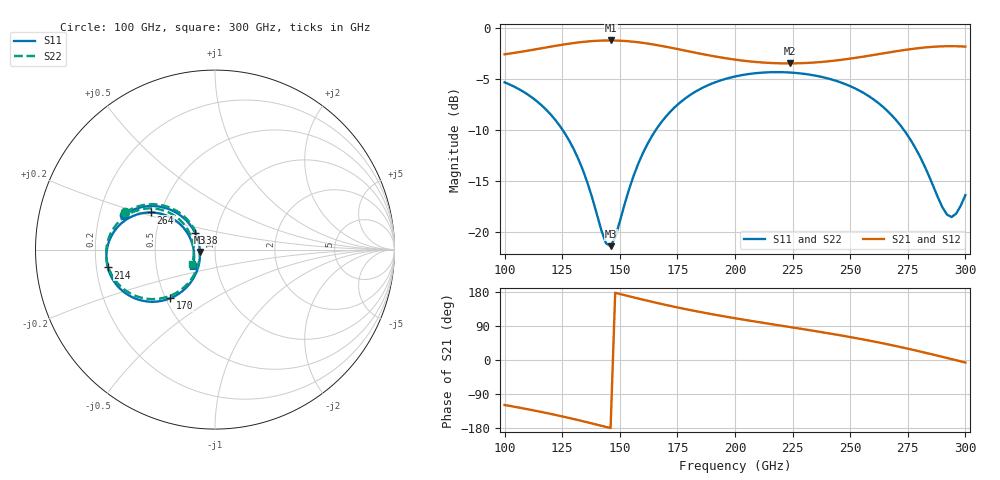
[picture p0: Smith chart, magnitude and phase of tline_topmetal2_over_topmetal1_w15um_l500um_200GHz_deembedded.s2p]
! Created with skrf 2.0.1 (http://scikit-rf.org).
# GHz S DB R 50.0
!freq dBS11 angS11 dBS21 angS21 dBS12 angS12 dBS22 angS22
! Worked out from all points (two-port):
!   101 points, 100 GHz to 300 GHz, reference 50 ohm
!   highest |S21| = -1.22 dB at 146 GHz (marker M1); lowest = -3.5 dB at 224 GHz (marker M2)
!   |S21| within 3 dB of the highest: start of sweep to end of sweep
!   lowest |S11| = -21.4 dB at 146 GHz (marker M3), VSWR 1.19, Z = 42.3 - j1.15 ohm
!   |S11| at or under -10 dB: 125.1 GHz to 165.7 GHz (40.55 GHz wide, 27.9 % of centre); 273.2 GHz to end of sweep
!   |S22| runs from -21.5 to -4.3 dB; largest |S21 - S12| = 8.9e-14
!   S11 on the Smith chart (normalised r, x): 100 GHz: 0.31, +0.17; 138 GHz: 0.79, +0.15; 170 GHz: 0.53, -0.33; 214 GHz: 0.25, -0.08; 264 GHz: 0.44, +0.22; 300 GHz: 0.77, -0.14
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100  -5.34 158.9  -2.58 -118.8  -2.58 -118.8  -5.34 157.5
120  -8.49 141.1  -1.83 -142.2  -1.83 -142.2  -8.50 139.3
128  -11.04 135.6  -1.54 -153.0  -1.54 -153.0  -11.05 133.7
134  -13.96 135.0  -1.37 -161.6  -1.37 -161.6  -13.98 133.0
138  -16.66 139.6  -1.29 -167.5  -1.29 -167.5  -16.69 137.5
144  -21.14 170.3  -1.23 -176.6  -1.23 -176.6  -21.20 168.2
146  -21.42 -170.8  -1.22 -179.6  -1.22 -179.6  -21.49 -172.8
158  -13.33 -126.6  -1.40 162.3  -1.40 162.3  -13.34 -128.7
168  -9.26 -130.9  -1.76 148.0  -1.76 148.0  -9.27 -133.1
170  -8.70 -132.5  -1.84 145.3  -1.84 145.3  -8.71 -134.8
184  -6.10 -145.0  -2.48 127.7  -2.48 127.7  -6.11 -147.5
200  -4.76 -159.1  -3.11 110.3  -3.11 110.3  -4.77 -161.8
214  -4.36 -170.6  -3.42 96.4  -3.42 96.4  -4.36 -173.5
224  -4.37 -178.5  -3.48 86.8  -3.48 86.8  -4.38 178.4
234  -4.64 173.6  -3.40 77.1  -3.40 77.1  -4.65 170.4
250  -5.71 160.8  -3.01 60.5  -3.01 60.5  -5.72 157.3
264  -7.70 149.9  -2.50 44.2  -2.50 44.2  -7.71 146.2
268  -8.56 147.2  -2.36 39.2  -2.36 39.2  -8.57 143.4
278  -11.67 143.6  -2.03 25.7  -2.03 25.7  -11.67 139.7
292  -18.32 175.0  -1.79 5.4  -1.79 5.4  -18.31 170.9
296  -18.23 -161.1  -1.79 -0.6  -1.79 -0.6  -18.22 -165.3
300  -16.41 -143.6  -1.83 -6.6  -1.83 -6.6  -16.41 -147.8
